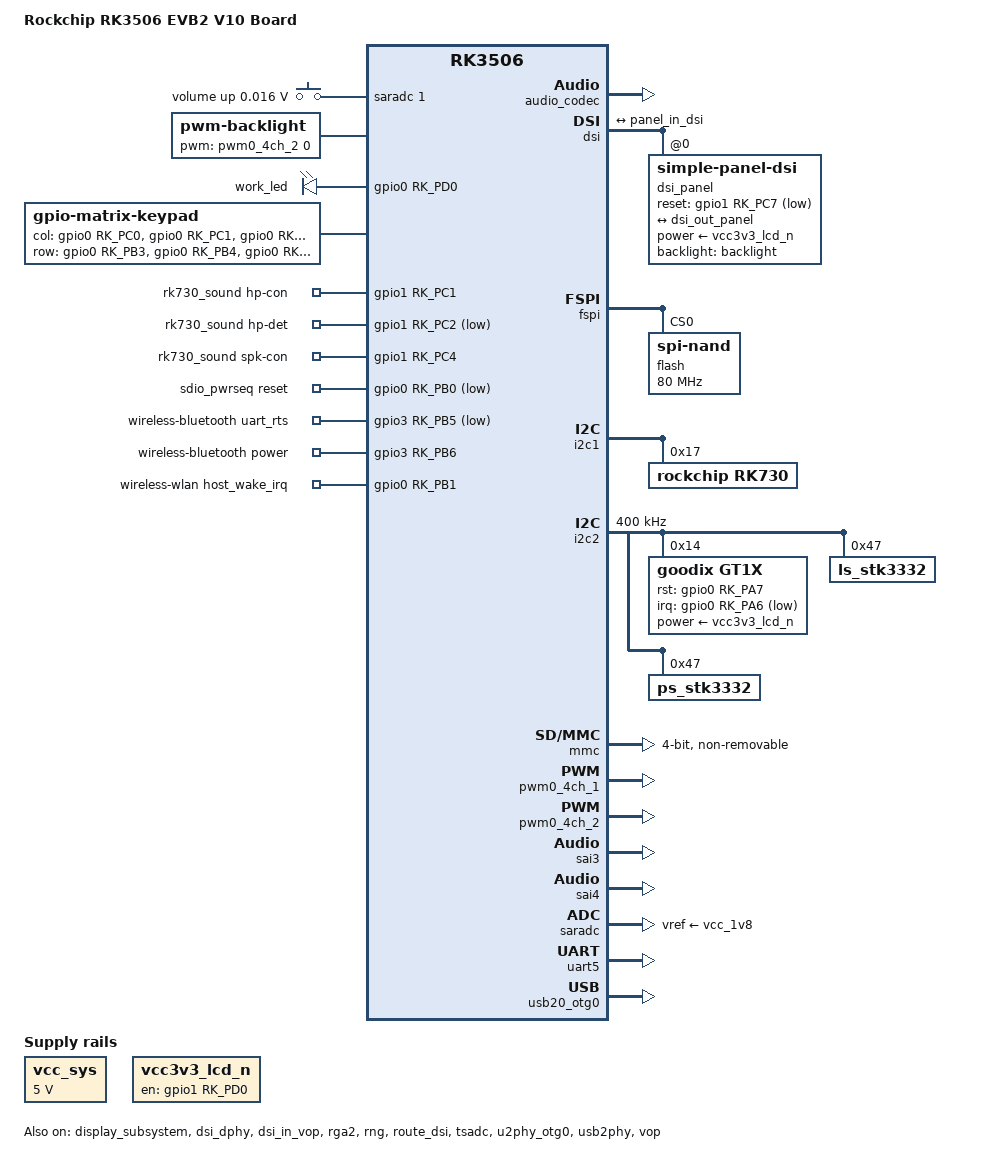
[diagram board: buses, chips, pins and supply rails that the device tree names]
// SPDX-License-Identifier: (GPL-2.0+ OR MIT)
/*
 * Copyright (c) 2025 Rockchip Electronics Co., Ltd.
 */

#include <dt-bindings/display/drm_mipi_dsi.h>
#include <dt-bindings/input/input.h>
#include <dt-bindings/suspend/rockchip-rk3506.h>
#include <dt-bindings/sensor-dev.h>

/ {
	model = "Rockchip RK3506 EVB2 V10 Board";
	compatible = "rockchip,rk3506-evb2-v10", "rockchip,rk3506";

	chosen {
		bootargs = "earlycon=uart8250,mmio32,0xff0a0000 console=ttyFIQ0 ubi.mtd=5 ubi.block=0,rootfs root=/dev/ubiblock0_0 rootfstype=squashfs rootwait snd_aloop.index=7 snd_aloop.use_raw_jiffies=1 storagemedia=mtd androidboot.storagemedia=mtd androidboot.mode=normal";
	};

	adc_keys: adc-keys {
		compatible = "adc-keys";
		io-channels = <&saradc 1>;
		io-channel-names = "buttons";
		keyup-threshold-microvolt = <1800000>;
		poll-interval = <100>;

		vol-up-key {
			label = "volume up";
			linux,code = <KEY_VOLUMEUP>;
			press-threshold-microvolt = <16000>;
		};
	};

	backlight: backlight {
		compatible = "pwm-backlight";
		pwms = <&pwm0_4ch_2 0 25000 0>;
		brightness-levels = <
			  0  20  20  21  21  22  22  23
			 23  24  24  25  25  26  26  27
			 27  28  28  29  29  30  30  31
			 31  32  32  33  33  34  34  35
			 35  36  36  37  37  38  38  39
			 40  41  42  43  44  45  46  47
			 48  49  50  51  52  53  54  55
			 56  57  58  59  60  61  62  63
			 64  65  66  67  68  69  70  71
			 72  73  74  75  76  77  78  79
			 80  81  82  83  84  85  86  87
			 88  89  90  91  92  93  94  95
			 96  97  98  99 100 101 102 103
			104 105 106 107 108 109 110 111
			112 113 114 115 116 117 118 119
			120 121 122 123 124 125 126 127
			128 129 130 131 132 133 134 135
			136 137 138 139 140 141 142 143
			144 145 146 147 148 149 150 151
			152 153 154 155 156 157 158 159
			160 161 162 163 164 165 166 167
			168 169 170 171 172 173 174 175
			176 177 178 179 180 181 182 183
			184 185 186 187 188 189 190 191
			192 193 194 195 196 197 198 199
			200 201 202 203 204 205 206 207
			208 209 210 211 212 213 214 215
			216 217 218 219 220 221 222 223
			224 225 226 227 228 229 230 231
			232 233 234 235 236 237 238 239
			240 241 242 243 244 245 246 247
			248 249 250 251 252 253 254 255
		>;
		default-brightness-level = <200>;
		status = "okay";
	};

	fiq_debugger: fiq-debugger {
		compatible = "rockchip,fiq-debugger";
		rockchip,serial-id = <0>;
		rockchip,wake-irq = <0>;
		rockchip,irq-mode-enable = <1>;
		rockchip,baudrate = <1500000>;	/* Only 115200 and 1500000 */
		interrupts = <GIC_SPI 115 IRQ_TYPE_LEVEL_HIGH>;
	};

	leds: leds {
		compatible = "gpio-leds";

		work_led: work-led {
			gpios = <&gpio0 RK_PD0 GPIO_ACTIVE_HIGH>;
			linux,default-trigger = "heartbeat";
		};
	};

	matrix-keypad {
		compatible = "gpio-matrix-keypad";
		debounce-delay-ms = <30>;
		col-scan-delay-us = <100>;
		wakeup-source;
		pinctrl-names = "default";
		pinctrl-0 = <&keypad_pins>;

		linux,no-autorepeat;
		drive-inactive-cols;

		col-gpios = <&gpio0 RK_PC0 GPIO_ACTIVE_HIGH
			     &gpio0 RK_PC1 GPIO_ACTIVE_HIGH
			     &gpio0 RK_PC2 GPIO_ACTIVE_HIGH
			     &gpio0 RK_PC3 GPIO_ACTIVE_HIGH
			     &gpio0 RK_PC4 GPIO_ACTIVE_HIGH>;

		row-gpios = <&gpio0 RK_PB3 GPIO_ACTIVE_HIGH
			     &gpio0 RK_PB4 GPIO_ACTIVE_HIGH
			     &gpio0 RK_PB5 GPIO_ACTIVE_HIGH
			     &gpio0 RK_PB6 GPIO_ACTIVE_HIGH
			     &gpio0 RK_PB7 GPIO_ACTIVE_HIGH>;

		linux,keymap = <
				MATRIX_KEY(0, 0, KEY_NUMERIC_1)
				MATRIX_KEY(0, 1, KEY_NUMERIC_2)
				MATRIX_KEY(0, 2, KEY_NUMERIC_3)
				MATRIX_KEY(0, 3, KEY_UP)
				MATRIX_KEY(0, 4, KEY_DOWN)
				MATRIX_KEY(1, 0, KEY_NUMERIC_4)
				MATRIX_KEY(1, 1, KEY_NUMERIC_5)
				MATRIX_KEY(1, 2, KEY_NUMERIC_6)
				MATRIX_KEY(1, 3, KEY_LEFT)
				MATRIX_KEY(1, 4, KEY_RIGHT)
				MATRIX_KEY(2, 0, KEY_NUMERIC_7)
				MATRIX_KEY(2, 1, KEY_NUMERIC_8)
				MATRIX_KEY(2, 2, KEY_NUMERIC_9)
				MATRIX_KEY(2, 3, KEY_OK)
				MATRIX_KEY(2, 4, KEY_MUTE)
				MATRIX_KEY(3, 0, KEY_NUMERIC_STAR)
				MATRIX_KEY(3, 1, KEY_NUMERIC_0)
				MATRIX_KEY(3, 2, KEY_NUMERIC_POUND)
				MATRIX_KEY(3, 3, KEY_SOUND)
				MATRIX_KEY(3, 4, KEY_VOLUMEDOWN)
				MATRIX_KEY(4, 0, KEY_F1)
				MATRIX_KEY(4, 1, KEY_F2)
				MATRIX_KEY(4, 2, KEY_F3)
				MATRIX_KEY(4, 3, KEY_F4)
				MATRIX_KEY(4, 4, KEY_VOLUMEUP)
		>;

		status = "okay";
	};

	/* Only lineout, no hpout */
	rk730_sound: rk730-sound {
		status = "okay";
		compatible = "rockchip,multicodecs-card";
		rockchip,card-name = "rockchip-rk730";
		pinctrl-names = "default";
		pinctrl-0 = <&hp_det_l>;
		hp-con-gpio = <&gpio1 RK_PC1 GPIO_ACTIVE_HIGH>;
		hp-det-gpio = <&gpio1 RK_PC2 GPIO_ACTIVE_LOW>;
		spk-con-gpio = <&gpio1 RK_PC4 GPIO_ACTIVE_HIGH>;
		rockchip,pre-power-on-delay-ms = <30>;
		rockchip,post-power-down-delay-ms = <40>;
		rockchip,format = "i2s";
		rockchip,mclk-fs = <256>;
		rockchip,mclk-fs-mapping = <256 1024>;
		rockchip,cpu = <&sai_dais>;
		rockchip,codec = <&rk730>, <&audio_codec>;
		rockchip,audio-routing =
			"Headphone", "LOUT2",
			"Headphone", "ROUT2",
			"Speaker", "LOUT1",
			"Speaker", "ROUT1",
			"Headphone", "Headphone Power",
			"Headphone", "Headphone Power",
			"Speaker", "Speaker Power",
			"Speaker", "Speaker Power",
			"MIC2", "Main Mic",
			"MIC1", "Headset Mic";
	};

	sai_dais: sai-dais {
		status = "okay";
		compatible = "rockchip,multi-dais";
		dais = <&sai3>, <&sai4>;
		capture,channel-mapping = <2 2>;
		playback,channel-mapping = <2 0>;
		mclk-fs-mapping = <256 1024>;
	};

	sdio_pwrseq: sdio-pwrseq {
		compatible = "mmc-pwrseq-simple";
		pinctrl-names = "default";
		pinctrl-0 = <&wifi_enable_h>;

		/*
		 * On the module itself this is one of these (depending
		 * on the actual card populated):
		 * - SDIO_RESET_L_WL_REG_ON
		 * - PDN (power down when low)
		 */
		reset-gpios = <&gpio0 RK_PB0 GPIO_ACTIVE_LOW>;
	};

	vcc_sys: vcc-sys {
		compatible = "regulator-fixed";
		regulator-name = "vcc_sys";
		regulator-always-on;
		regulator-boot-on;
		regulator-min-microvolt = <5000000>;
		regulator-max-microvolt = <5000000>;
	};

	vcc3v3_lcd_n: vcc3v3-lcd0-n {
		compatible = "regulator-fixed";
		enable-active-high;
		gpio = <&gpio1 RK_PD0 GPIO_ACTIVE_HIGH>;
		regulator-name = "vcc3v3_lcd_n";
		regulator-boot-on;
		regulator-state-mem {
			regulator-off-in-suspend;
		};
	};

	wireless-bluetooth {
		compatible = "bluetooth-platdata";
		uart_rts_gpios = <&gpio3 RK_PB5 GPIO_ACTIVE_LOW>;
		pinctrl-names = "default", "rts_gpio";
		pinctrl-0 = <&uart5m0_rtsn_pins>;
		pinctrl-1 = <&uart5_gpios>;
		BT,power_gpio    = <&gpio3 RK_PB6 GPIO_ACTIVE_HIGH>;
		status = "okay";
	};

	wireless-wlan {
		compatible = "wlan-platdata";
		rockchip,grf = <&grf>;
		clocks = <&rk816 1>;
		clock-names = "clk_wifi";
		pinctrl-names = "default";
		pinctrl-0 = <&wifi_wake_host>;
		wifi_chip_type = "ap6256";
		WIFI,host_wake_irq = <&gpio0 RK_PB1 GPIO_ACTIVE_HIGH>;
		status = "okay";
	};
};

&audio_codec {
	status = "okay";
};

&cma {
	size = <0x1600000>;
};

&cpu0 {
	cpu-supply = <&vdd_arm>;
};

&display_subsystem {
	logo-memory-region = <&drm_logo>;
	status = "okay";
};

&dsi {
	status = "okay";
	rockchip,lane-rate = <850>;
	dsi_panel: panel@0 {
		status = "okay";
		compatible = "simple-panel-dsi";
		reg = <0>;
		backlight = <&backlight>;
		power-supply = <&vcc3v3_lcd_n>;
		reset-gpios = <&gpio1 RK_PC7 GPIO_ACTIVE_LOW>;
		prepare-delay-ms = <5>;
		reset-delay-ms = <1>;
		init-delay-ms = <80>;
		disable-delay-ms = <10>;
		unprepare-delay-ms = <5>;

		width-mm = <68>;
		height-mm = <121>;

		dsi,flags = <(MIPI_DSI_MODE_VIDEO | MIPI_DSI_MODE_VIDEO_BURST |
			      MIPI_DSI_MODE_LPM | MIPI_DSI_MODE_NO_EOT_PACKET)>;
		dsi,format = <MIPI_DSI_FMT_RGB888>;
		dsi,lanes  = <2>;
		panel-init-sequence = [
			39 00 04 ff 98 81 03
			15 00 02 01 00
			15 00 02 02 00
			15 00 02 03 53
			15 00 02 04 53
			15 00 02 05 13
			15 00 02 06 04
			15 00 02 07 02
			15 00 02 08 02
			15 00 02 09 00
			15 00 02 0a 00
			15 00 02 0b 00
			15 00 02 0c 00
			15 00 02 0d 00
			15 00 02 0e 00
			15 00 02 0f 00
			15 00 02 10 00
			15 00 02 11 00
			15 00 02 12 00
			15 00 02 13 00
			15 00 02 14 00
			15 00 02 15 08
			15 00 02 16 10
			15 00 02 17 00
			15 00 02 18 08
			15 00 02 19 00
			15 00 02 1a 00
			15 00 02 1b 00
			15 00 02 1c 00
			15 00 02 1d 00
			15 00 02 1e c0
			15 00 02 1f 80
			15 00 02 20 02
			15 00 02 21 09
			15 00 02 22 00
			15 00 02 23 00
			15 00 02 24 00
			15 00 02 25 00
			15 00 02 26 00
			15 00 02 27 00
			15 00 02 28 55
			15 00 02 29 03
			15 00 02 2a 00
			15 00 02 2b 00
			15 00 02 2c 00
			15 00 02 2d 00
			15 00 02 2e 00
			15 00 02 2f 00
			15 00 02 30 00
			15 00 02 31 00
			15 00 02 32 00
			15 00 02 33 00
			15 00 02 34 04
			15 00 02 35 05
			15 00 02 36 05
			15 00 02 37 00
			15 00 02 38 3c
			15 00 02 39 35
			15 00 02 3a 00
			15 00 02 3b 40
			15 00 02 3c 00
			15 00 02 3d 00
			15 00 02 3e 00
			15 00 02 3f 00
			15 00 02 40 00
			15 00 02 41 88
			15 00 02 42 00
			15 00 02 43 00
			15 00 02 44 1f
			15 00 02 50 01
			15 00 02 51 23
			15 00 02 52 45
			15 00 02 53 67
			15 00 02 54 89
			15 00 02 55 ab
			15 00 02 56 01
			15 00 02 57 23
			15 00 02 58 45
			15 00 02 59 67
			15 00 02 5a 89
			15 00 02 5b ab
			15 00 02 5c cd
			15 00 02 5d ef
			15 00 02 5e 03
			15 00 02 5f 14
			15 00 02 60 15
			15 00 02 61 0c
			15 00 02 62 0d
			15 00 02 63 0e
			15 00 02 64 0f
			15 00 02 65 10
			15 00 02 66 11
			15 00 02 67 08
			15 00 02 68 02
			15 00 02 69 0a
			15 00 02 6a 02
			15 00 02 6b 02
			15 00 02 6c 02
			15 00 02 6d 02
			15 00 02 6e 02
			15 00 02 6f 02
			15 00 02 70 02
			15 00 02 71 02
			15 00 02 72 06
			15 00 02 73 02
			15 00 02 74 02
			15 00 02 75 14
			15 00 02 76 15
			15 00 02 77 0f
			15 00 02 78 0e
			15 00 02 79 0d
			15 00 02 7a 0c
			15 00 02 7b 11
			15 00 02 7c 10
			15 00 02 7d 06
			15 00 02 7e 02
			15 00 02 7f 0a
			15 00 02 80 02
			15 00 02 81 02
			15 00 02 82 02
			15 00 02 83 02
			15 00 02 84 02
			15 00 02 85 02
			15 00 02 86 02
			15 00 02 87 02
			15 00 02 88 08
			15 00 02 89 02
			15 00 02 8a 02
			39 00 04 ff 98 81 04
			15 00 02 00 80
			15 00 02 70 00
			15 00 02 71 00
			15 00 02 66 fe
			15 00 02 82 15
			15 00 02 84 15
			15 00 02 85 15
			15 00 02 3a 24
			15 00 02 32 ac
			15 00 02 8c 80
			15 00 02 3c f5
			15 00 02 88 33
			39 00 04 ff 98 81 01
			15 00 02 22 0a
			15 00 02 31 00
			15 00 02 53 78
			15 00 02 55 7b
			15 00 02 60 20
			15 00 02 61 00
			15 00 02 62 0d
			15 00 02 63 00
			15 00 02 a0 00
			15 00 02 a1 10
			15 00 02 a2 1c
			15 00 02 a3 13
			15 00 02 a4 15
			15 00 02 a5 26
			15 00 02 a6 1a
			15 00 02 a7 1d
			15 00 02 a8 67
			15 00 02 a9 1c
			15 00 02 aa 29
			15 00 02 ab 5b
			15 00 02 ac 26
			15 00 02 ad 28
			15 00 02 ae 5c
			15 00 02 af 30
			15 00 02 b0 31
			15 00 02 b1 32
			15 00 02 b2 00
			15 00 02 b1 2e
			15 00 02 b2 32
			15 00 02 b3 00
			15 00 02 b6 02
			15 00 02 b7 03
			15 00 02 c0 00
			15 00 02 c1 10
			15 00 02 c2 1c
			15 00 02 c3 13
			15 00 02 c4 15
			15 00 02 c5 26
			15 00 02 c6 1a
			15 00 02 c7 1d
			15 00 02 c8 67
			15 00 02 c9 1c
			15 00 02 ca 29
			15 00 02 cb 5b
			15 00 02 cc 26
			15 00 02 cd 28
			15 00 02 ce 5c
			15 00 02 cf 30
			15 00 02 d0 31
			15 00 02 d1 2e
			15 00 02 d2 32
			15 00 02 d3 00
			39 00 04 ff 98 81 00
			05 96 01 11
			05 14 01 29
		];

		disp_timings0: display-timings {
			native-mode = <&dsi_timing0>;
			dsi_timing0: timing0 {
				clock-frequency = <65000000>;
				hactive = <720>;
				vactive = <1280>;
				hfront-porch = <48>;
				hsync-len = <8>;
				hback-porch = <52>;
				vfront-porch = <16>;
				vsync-len = <6>;
				vback-porch = <15>;
				hsync-active = <0>;
				vsync-active = <0>;
				de-active = <0>;
				pixelclk-active = <0>;
			};
		};

		ports {
			#address-cells = <1>;
			#size-cells = <0>;

			port@0 {
				reg = <0>;
				panel_in_dsi: endpoint {
					remote-endpoint = <&dsi_out_panel>;
				};
			};
		};
	};

	ports {
		#address-cells = <1>;
		#size-cells = <0>;

		port@1 {
			reg = <1>;
			dsi_out_panel: endpoint {
				remote-endpoint = <&panel_in_dsi>;
			};
		};
	};

};

&dsi_dphy {
	status = "okay";
};

&dsi_in_vop {
	status = "okay";
};

&fspi {
	status = "okay";

	flash@0 {
		compatible = "spi-nand";
		reg = <0>;
		spi-max-frequency = <80000000>;
		spi-rx-bus-width = <4>;
		spi-tx-bus-width = <1>;
	};
};

&i2c1 {
	status = "okay";
	pinctrl-names = "default";
	pinctrl-0 = <&rm_io25_i2c1_scl
		     &rm_io26_i2c1_sda>;

	rk730: rk730@17 {
		status = "okay";
		#sound-dai-cells = <0>;
		compatible = "rockchip,rk730";
		reg = <0x17>;
		clocks = <&mclkout_sai3>;
		clock-names = "mclk";
		assigned-clocks = <&mclkout_sai3>;
		assigned-clock-rates = <12288000>;
		pinctrl-names = "default";
		pinctrl-0 = <&sai3_mclk_pins>;
	};
};

&i2c2 {
	status = "okay";
	clock-frequency = <400000>;
	pinctrl-names = "default";
	pinctrl-0 = <&rm_io29_i2c2_scl &rm_io30_i2c2_sda>;

	gt1x: gt1x@14 {
		compatible = "goodix,gt1x";
		reg = <0x14>;
		gtp_ics_slot_report;
		power-supply = <&vcc3v3_lcd_n>;
		goodix,rst-gpio = <&gpio0 RK_PA7 GPIO_ACTIVE_HIGH>;
		goodix,irq-gpio = <&gpio0 RK_PA6 GPIO_ACTIVE_LOW>;
		status = "okay";
	};

	ls_stk3332: light@47 {
		compatible = "ls_stk3332";
		reg = <0x47>;
		type = <SENSOR_TYPE_LIGHT>;
		irq_enable = <0>;
		als_threshold_high = <100>;
		als_threshold_low = <10>;
		als_ctrl_gain = <2>; /* 0:x1 1:x4 2:x16 3:x64 */
		poll_delay_ms = <100>;
		status = "okay";
	};

	ps_stk3332: proximity@47 {
		compatible = "ps_stk3332";
		reg = <0x47>;
		type = <SENSOR_TYPE_PROXIMITY>;
		//pinctrl-names = "default";
		//pinctrl-0 = <&stk_int_l>;
		//irq-gpio = <&gpio0 RK_PA0 IRQ_TYPE_LEVEL_LOW>;
		//irq_enable = <1>;
		ps_threshold_high = <0x64>;
		ps_threshold_low = <0x50>;
		ps_ctrl_gain = <3>; /* 0:x1 1:x2 2:x5 3:x8 */
		ps_led_current = <5>; /* 0:3.125mA 1:6.25mA 2:12.5mA 3:25mA 4:50mA 5:100mA*/
		poll_delay_ms = <100>;
		status = "okay";
	};
};

&mmc {
	bus-width = <4>;
	cap-sd-highspeed;
	no-sd;
	no-mmc;
	pinctrl-names = "default";
	pinctrl-0 = <&sdmmc_clk_pins &sdmmc_cmd_pins &sdmmc_bus4_pins>;
	ignore-pm-notify;
	keep-power-in-suspend;
	non-removable;
	mmc-pwrseq = <&sdio_pwrseq>;
	sd-uhs-sdr104;
	status = "okay";
};

&pinctrl {
	sound {
		hp_det_l: hp-det-l {
			rockchip,pins = <1 RK_PC2 RK_FUNC_GPIO &pcfg_pull_up>;
		};
	};

	keyboard {
		keypad_pins: keypad-pins {
			rockchip,pins =
				/* keyboard rows(0~4) */
				<0 RK_PB3 RK_FUNC_GPIO &pcfg_pull_down>,
				<0 RK_PB4 RK_FUNC_GPIO &pcfg_pull_down>,
				<0 RK_PB5 RK_FUNC_GPIO &pcfg_pull_down>,
				<0 RK_PB6 RK_FUNC_GPIO &pcfg_pull_down>,
				<0 RK_PB7 RK_FUNC_GPIO &pcfg_pull_down>,
				/* keyboard cols(0~4) */
				<0 RK_PC0 RK_FUNC_GPIO &pcfg_pull_none>,
				<0 RK_PC1 RK_FUNC_GPIO &pcfg_pull_none>,
				<0 RK_PC2 RK_FUNC_GPIO &pcfg_pull_none>,
				<0 RK_PC3 RK_FUNC_GPIO &pcfg_pull_none>,
				<0 RK_PC4 RK_FUNC_GPIO &pcfg_pull_none>;
		};
	};

	pmic {
		pmic_int_l: pmic-int-l {
			rockchip,pins = <0 RK_PA2 RK_FUNC_GPIO &pcfg_pull_up>;
		};
	};

	sdio-pwrseq {
		wifi_enable_h: wifi-enable-h {
			rockchip,pins = <0 RK_PB0 RK_FUNC_GPIO &pcfg_pull_none>;
		};
	};

	sensor {
		stk_int_l: stk-int-l {
			rockchip,pins = <0 RK_PA0 RK_FUNC_GPIO &pcfg_pull_up>;
		};
	};

	speaker {
		spk_ctrl: spk-ctrl {
			rockchip,pins = <1 RK_PC6 RK_FUNC_GPIO &pcfg_pull_none>;
		};
	};

	wireless-bluetooth {
		uart5_gpios: uart5-gpios {
			rockchip,pins = <3 RK_PB5 RK_FUNC_GPIO &pcfg_pull_none>;
		};
	};

	wireless-wlan {
		wifi_wake_host: wifi-wake-host {
			rockchip,pins = <0 RK_PB1 RK_FUNC_GPIO &pcfg_pull_up>;
		};
	};
};

&pwm0_4ch_1 {
	pinctrl-names = "active";
	pinctrl-0 = <&rm_io20_pwm0_ch1>;
	status = "okay";
};

&pwm0_4ch_2 {
	pinctrl-names = "active";
	pinctrl-0 = <&rm_io31_pwm0_ch2>;
	status = "okay";
};

&rga2 {
	status = "okay";
};

&rng {
	status = "okay";
};

&rockchip_suspend {
	rockchip,sleep-mode-config = <
		(0
		| RKPM_ARMOFF_DDRPD
		| RKPM_24M_OSC_DIS
		| RKPM_32K_CLK
		| RKPM_32K_SRC_RC
		)
	>;

	rockchip,apios-suspend = <
		(0
		| RKPM_PWREN_SLEEP_GPIO0A3 | RKPM_PWREN_SLEEP_ACT_HIGH
		)
	>;

#define GPIO0_IOC_GPIO1D_PULL_REG	0xff66021c
#define GPIO0_IOC_GPIO2C_PULL_REG	0xff4d8228
#define GPIO1D3_PULL_DOWN		0x00c00080
#define GPIO2C0_PULL_DOWN		0x00030002

	/* Note: support max 16 pairs */
	rockchip,sleep-io-config = <
		GPIO0_IOC_GPIO1D_PULL_REG GPIO1D3_PULL_DOWN /* PWM0_CH2_LCD_BL */
		GPIO0_IOC_GPIO2C_PULL_REG GPIO2C0_PULL_DOWN /* SAI3_MCLK */
	>;
};

&route_dsi {
	status = "okay";
};

&sai3 {
	status = "okay";
	rockchip,mclk-no-set;
	pinctrl-names = "default", "sleep";
	pinctrl-0 = <&sai3_sclk_pins
		     &sai3_lrck_pins
		     &sai3_sdi_pins
		     &sai3_sdo_pins>;
	pinctrl-1 = <&sai3_sclk_idle_pins
		     &sai3_lrck_idle_pins
		     &sai3_sdi_idle_pins
		     &sai3_sdo_idle_pins>;
};

&sai4 {
	status = "okay";
	rockchip,mclk-no-set;
};

&saradc {
	vref-supply = <&vcc_1v8>;
	status = "okay";
};

&tsadc {
	status = "okay";
};

&uart5 {
	pinctrl-0 = <&uart5m0_xfer_pins &uart5m0_ctsn_pins>;
	status = "okay";
};

&u2phy_otg0 {
	status = "okay";
};

&usb2phy {
	status = "okay";
};

&usb20_otg0 {
	status = "okay";
};

&vop {
	status = "okay";
};
